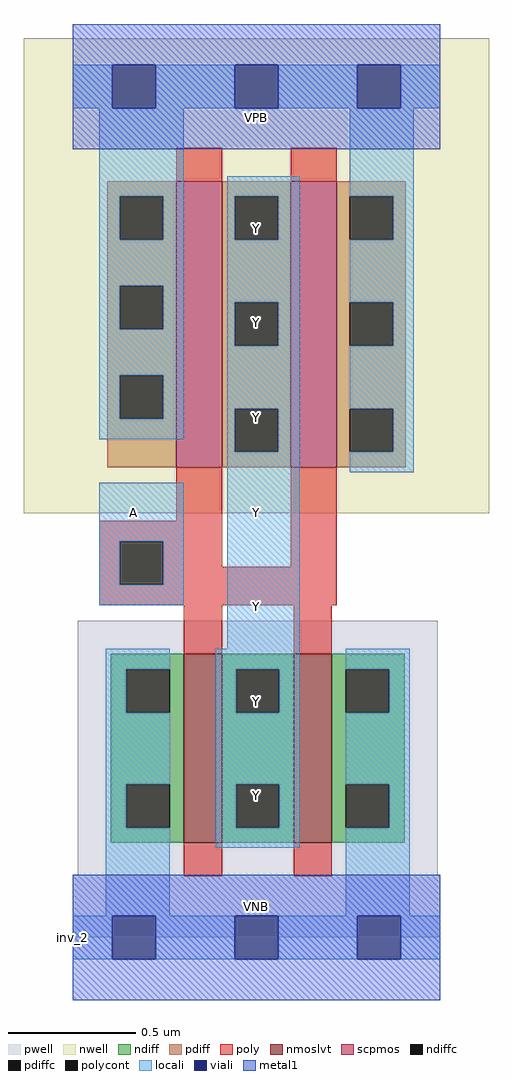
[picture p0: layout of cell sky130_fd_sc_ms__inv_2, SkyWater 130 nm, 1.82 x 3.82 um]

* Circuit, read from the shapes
.subckt sky130_fd_sc_ms__inv_2 A VGND VNB VPB VPWR Y
XM1 Y A VGND VNB sky130_fd_pr__nfet_01v8_lvt w=0.74 l=0.15 m=2
XM2 Y A VPWR VPB sky130_fd_pr__pfet_01v8 w=1.12 l=0.18 m=2
.ends

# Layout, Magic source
magic
tech sky130A
magscale 1 2
<< nwell >>
rect -38 332 326 704
<< pwell >>
rect 4 49 286 248
rect 0 0 288 49
<< scpmos >>
rect 81 368 117 592
rect 171 368 207 592
<< nmoslvt >>
rect 87 74 117 222
rect 173 74 203 222
<< ndiff >>
rect 30 210 87 222
rect 30 176 42 210
rect 76 176 87 210
rect 30 120 87 176
rect 30 86 42 120
rect 76 86 87 120
rect 30 74 87 86
rect 117 210 173 222
rect 117 176 128 210
rect 162 176 173 210
rect 117 120 173 176
rect 117 86 128 120
rect 162 86 173 120
rect 117 74 173 86
rect 203 210 260 222
rect 203 176 214 210
rect 248 176 260 210
rect 203 120 260 176
rect 203 86 214 120
rect 248 86 260 120
rect 203 74 260 86
<< pdiff >>
rect 27 580 81 592
rect 27 546 37 580
rect 71 546 81 580
rect 27 510 81 546
rect 27 476 37 510
rect 71 476 81 510
rect 27 440 81 476
rect 27 406 37 440
rect 71 406 81 440
rect 27 368 81 406
rect 117 580 171 592
rect 117 546 127 580
rect 161 546 171 580
rect 117 497 171 546
rect 117 463 127 497
rect 161 463 171 497
rect 117 414 171 463
rect 117 380 127 414
rect 161 380 171 414
rect 117 368 171 380
rect 207 580 261 592
rect 207 546 217 580
rect 251 546 261 580
rect 207 497 261 546
rect 207 463 217 497
rect 251 463 261 497
rect 207 414 261 463
rect 207 380 217 414
rect 251 380 261 414
rect 207 368 261 380
<< ndiffc >>
rect 42 176 76 210
rect 42 86 76 120
rect 128 176 162 210
rect 128 86 162 120
rect 214 176 248 210
rect 214 86 248 120
<< pdiffc >>
rect 37 546 71 580
rect 37 476 71 510
rect 37 406 71 440
rect 127 546 161 580
rect 127 463 161 497
rect 127 380 161 414
rect 217 546 251 580
rect 217 463 251 497
rect 217 380 251 414
<< poly >>
rect 81 592 117 618
rect 171 592 207 618
rect 81 326 117 368
rect 21 310 117 326
rect 21 276 37 310
rect 71 290 117 310
rect 171 290 207 368
rect 71 276 207 290
rect 21 260 207 276
rect 87 222 117 260
rect 173 222 203 260
rect 87 48 117 74
rect 173 48 203 74
<< polycont >>
rect 37 276 71 310
<< locali >>
rect 0 649 31 683
rect 65 649 127 683
rect 161 649 223 683
rect 257 649 288 683
rect 21 580 87 649
rect 21 546 37 580
rect 71 546 87 580
rect 21 510 87 546
rect 21 476 37 510
rect 71 476 87 510
rect 21 440 87 476
rect 21 406 37 440
rect 71 406 87 440
rect 21 390 87 406
rect 121 580 178 596
rect 121 546 127 580
rect 161 546 178 580
rect 121 497 178 546
rect 121 463 127 497
rect 161 463 178 497
rect 121 414 178 463
rect 121 380 127 414
rect 161 380 178 414
rect 21 310 87 356
rect 21 276 37 310
rect 71 276 87 310
rect 21 260 87 276
rect 121 226 178 380
rect 217 580 267 649
rect 251 546 267 580
rect 217 497 267 546
rect 251 463 267 497
rect 217 414 267 463
rect 251 380 267 414
rect 217 364 267 380
rect 26 210 76 226
rect 26 176 42 210
rect 26 120 76 176
rect 26 86 42 120
rect 26 17 76 86
rect 112 210 178 226
rect 112 176 128 210
rect 162 176 178 210
rect 112 120 178 176
rect 112 86 128 120
rect 162 86 178 120
rect 112 70 178 86
rect 214 210 264 226
rect 248 176 264 210
rect 214 120 264 176
rect 248 86 264 120
rect 214 17 264 86
rect 0 -17 31 17
rect 65 -17 127 17
rect 161 -17 223 17
rect 257 -17 288 17
<< viali >>
rect 31 649 65 683
rect 127 649 161 683
rect 223 649 257 683
rect 31 -17 65 17
rect 127 -17 161 17
rect 223 -17 257 17
<< metal1 >>
rect 0 683 288 715
rect 0 649 31 683
rect 65 649 127 683
rect 161 649 223 683
rect 257 649 288 683
rect 0 617 288 649
rect 0 17 288 49
rect 0 -17 31 17
rect 65 -17 127 17
rect 161 -17 223 17
rect 257 -17 288 17
rect 0 -49 288 -17
<< labels >>
flabel pwell s 0 0 288 49 0 FreeSans 200 0 0 0 VNB
port 3 nsew ground bidirectional
flabel nwell s 0 617 288 666 0 FreeSans 200 0 0 0 VPB
port 4 nsew power bidirectional
rlabel comment s 0 0 0 0 4 inv_2
flabel metal1 s 0 617 288 666 0 FreeSans 340 0 0 0 VPWR
port 5 nsew power bidirectional
flabel metal1 s 0 0 288 49 0 FreeSans 340 0 0 0 VGND
port 2 nsew ground bidirectional
flabel locali s 31 316 65 350 0 FreeSans 340 0 0 0 A
port 1 nsew signal input
flabel locali s 127 94 161 128 0 FreeSans 340 0 0 0 Y
port 6 nsew signal output
flabel locali s 127 168 161 202 0 FreeSans 340 0 0 0 Y
port 6 nsew signal output
flabel locali s 127 242 161 276 0 FreeSans 340 0 0 0 Y
port 6 nsew signal output
flabel locali s 127 316 161 350 0 FreeSans 340 0 0 0 Y
port 6 nsew signal output
flabel locali s 127 390 161 424 0 FreeSans 340 0 0 0 Y
port 6 nsew signal output
flabel locali s 127 464 161 498 0 FreeSans 340 0 0 0 Y
port 6 nsew signal output
flabel locali s 127 538 161 572 0 FreeSans 340 0 0 0 Y
port 6 nsew signal output
<< properties >>
string LEFsite unit
string LEFclass CORE
string FIXED_BBOX 0 0 288 666
string GDS_FILE $PDKPATH/libs.ref/sky130_fd_sc_ms/gds/sky130_fd_sc_ms.gds
string LEFsymmetry X Y
string GDS_END 2518332
string GDS_START 2514048
<< end >>
